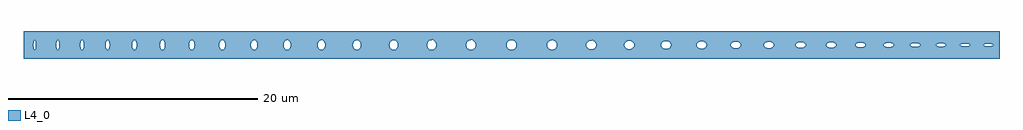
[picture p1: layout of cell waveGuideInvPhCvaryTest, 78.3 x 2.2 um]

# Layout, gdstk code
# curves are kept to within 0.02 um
import gdstk
lib = gdstk.Library(unit=1e-6, precision=1e-09)
def P(c, l, *ps):  # polygons
    for p in ps: c.add(gdstk.Polygon(p, *l))
L4_0 = (4, 0)

waveguideinvphcvarytest = lib.new_cell('waveGuideInvPhCvaryTest')
P(waveguideinvphcvarytest, L4_0, [(-39.15,-1.1),(-39.15,-0.4),(-38.234,-0.395),(-38.179,-0.283),(-38.15,0),(-38.191,0.324),(-38.234,0.395),(-38.266,0.395),(-38.331,0.235),(-38.349,-0.063),(-38.309,-0.324),(-38.25,-0.4),(-39.15,-0.4),(-39.15,1.1),(-37.35,1.1),(-37.35,-1.1)],
  [(-37.35,-1.1),(-37.35,-0.399),(-36.391,-0.399),(-36.312,-0.272),(-36.28,0),(-36.325,0.313),(-36.409,0.399),(-36.488,0.272),(-36.52,0),(-36.488,-0.272),(-36.409,-0.399),(-37.35,-0.399),(-37.35,1.1),(-35.45,1.1),(-35.45,-1.1)],
  [(-35.45,-1.1),(-35.45,-0.4),(-34.43,-0.396),(-34.344,-0.262),(-34.31,0),(-34.358,0.302),(-34.411,0.384),(-34.47,0.396),(-34.556,0.262),(-34.589,-0.057),(-34.542,-0.302),(-34.45,-0.4),(-35.45,-0.4),(-35.45,1.1),(-33.45,1.1),(-33.45,-1.1)],
  [(-33.45,-1.1),(-33.45,-0.399),(-32.367,-0.392),(-32.276,-0.252),(-32.24,0),(-32.308,0.327),(-32.367,0.392),(-32.433,0.392),(-32.537,0.208),(-32.559,-0.054),(-32.509,-0.292),(-32.411,-0.399),(-33.45,-0.399),(-33.45,1.1),(-31.35,1.1),(-31.35,-1.1)],
  [(-31.35,-1.1),(-31.35,-0.4),(-30.227,-0.397),(-30.16,-0.346),(-30.107,-0.244),(-30.07,0),(-30.14,0.317),(-30.203,0.386),(-30.273,0.397),(-30.34,0.346),(-30.393,0.244),(-30.43,0),(-30.377,-0.283),(-30.319,-0.37),(-30.25,-0.4),(-31.35,-0.4),(-31.35,1.1),(-29.15,1.1),(-29.15,-1.1)],
  [(-29.15,-1.1),(-29.15,-0.399),(-27.963,-0.393),(-27.854,-0.274),(-27.8,0),(-27.814,0.147),(-27.873,0.308),(-27.963,0.393),(-28.037,0.393),(-28.146,0.274),(-28.2,0),(-28.146,-0.274),(-28.085,-0.362),(-28.013,-0.399),(-29.15,-0.399),(-29.15,1.1),(-26.85,1.1),(-26.85,-1.1)],
  [(-26.85,-1.1),(-26.85,-0.4),(-25.623,-0.397),(-25.548,-0.354),(-25.485,-0.265),(-25.43,0),(-25.444,0.142),(-25.504,0.299),(-25.572,0.374),(-25.677,0.397),(-25.752,0.354),(-25.815,0.265),(-25.87,0),(-25.815,-0.265),(-25.728,-0.374),(-25.65,-0.4),(-26.85,-0.4),(-26.85,1.1),(-24.45,1.1),(-24.45,-1.1)],
  [(-24.45,-1.1),(-24.45,-0.399),(-23.158,-0.394),(-23.016,-0.257),(-22.96,0),(-22.974,0.137),(-23.035,0.291),(-23.131,0.383),(-23.242,0.394),(-23.384,0.257),(-23.44,0),(-23.426,-0.137),(-23.365,-0.291),(-23.295,-0.367),(-23.214,-0.399),(-24.45,-0.399),(-24.45,1.1),(-21.95,1.1),(-21.95,-1.1)],
  [(-21.95,-1.1),(-21.95,-0.4),(-20.592,-0.39),(-20.447,-0.249),(-20.39,0),(-20.416,0.174),(-20.488,0.313),(-20.592,0.39),(-20.708,0.39),(-20.812,0.313),(-20.87,0.213),(-20.908,-0.045),(-20.834,-0.283),(-20.736,-0.378),(-20.65,-0.4),(-21.95,-0.4),(-21.95,1.1),(-19.35,1.1),(-19.35,-1.1)],
  [(-19.35,-1.1),(-19.35,-0.399),(-17.955,-0.395),(-17.843,-0.331),(-17.777,-0.242),(-17.72,0),(-17.746,0.168),(-17.819,0.305),(-17.925,0.385),(-18.045,0.395),(-18.157,0.331),(-18.223,0.242),(-18.28,0),(-18.254,-0.168),(-18.203,-0.275),(-18.104,-0.372),(-18.015,-0.399),(-19.35,-0.399),(-19.35,1.1),(-16.65,1.1),(-16.65,-1.1)],
  [(-16.65,-1.1),(-16.65,-0.4),(-15.188,-0.391),(-15.027,-0.268),(-14.976,-0.163),(-14.95,0),(-14.976,0.163),(-15.049,0.297),(-15.157,0.38),(-15.312,0.391),(-15.426,0.324),(-15.493,0.235),(-15.548,-0.042),(-15.51,-0.2),(-15.451,-0.297),(-15.343,-0.38),(-15.25,-0.4),(-16.65,-0.4),(-16.65,1.1),(-13.85,1.1),(-13.85,-1.1)],
  [(-13.85,-1.1),(-13.85,-0.399),(-12.352,-0.395),(-12.259,-0.359),(-12.157,-0.261),(-12.08,0),(-12.12,0.194),(-12.204,0.316),(-12.32,0.387),(-12.448,0.395),(-12.569,0.339),(-12.663,0.229),(-12.718,-0.04),(-12.68,-0.194),(-12.596,-0.316),(-12.511,-0.375),(-12.384,-0.399),(-13.85,-0.399),(-13.85,1.1),(-10.95,1.1),(-10.95,-1.1)],
  [(-10.95,-1.1),(-10.95,-0.4),(-9.384,-0.392),(-9.261,-0.333),(-9.187,-0.254),(-9.11,0),(-9.15,0.189),(-9.234,0.309),(-9.351,0.383),(-9.516,0.392),(-9.639,0.333),(-9.713,0.254),(-9.775,0.116),(-9.788,-0.039),(-9.75,-0.189),(-9.666,-0.309),(-9.58,-0.37),(-9.45,-0.4),(-10.95,-0.4),(-10.95,1.1),(-7.95,1.1),(-7.95,-1.1)],
  [(-7.95,-1.1),(-7.95,-0.4),(-6.315,-0.389),(-6.191,-0.326),(-6.117,-0.247),(-6.04,0),(-6.08,0.183),(-6.191,0.326),(-6.315,0.389),(-6.485,0.389),(-6.609,0.326),(-6.703,0.216),(-6.758,-0.038),(-6.661,-0.276),(-6.55,-0.364),(-6.417,-0.4),(-7.95,-0.4),(-7.95,1.1),(-4.85,1.1),(-4.85,-1.1)],
  [(-4.85,-1.1),(-4.85,-0.4),(-3.18,-0.393),(-3.05,-0.34),(-2.969,-0.269),(-2.896,-0.144),(-2.87,0),(-2.91,0.178),(-2.994,0.296),(-3.146,0.385),(-3.32,0.393),(-3.45,0.34),(-3.553,0.241),(-3.615,0.109),(-3.628,-0.037),(-3.59,-0.178),(-3.506,-0.296),(-3.387,-0.373),(-3.25,-0.4),(-4.85,-0.4),(-4.85,1.1),(-1.65,1.1),(-1.65,-1.1)],
  [(-1.65,-1.1),(-1.65,-0.4),(0.089,-0.39),(0.22,-0.334),(0.324,-0.235),(0.4,0),(0.36,0.174),(0.249,0.313),(0.089,0.39),(-0.089,0.39),(-0.22,0.334),(-0.324,0.235),(-0.386,0.106),(-0.394,-0.071),(-0.343,-0.205),(-0.249,-0.313),(-0.124,-0.38),(0.018,-0.4),(-1.65,-0.4),(-1.65,1.1),(1.65,1.1),(1.65,-1.1)],
  [(1.65,-1.1),(1.65,-0.38),(3.323,-0.374),(3.546,-0.256),(3.623,-0.137),(3.65,0),(3.623,0.137),(3.519,0.281),(3.359,0.365),(3.177,0.374),(3.039,0.323),(2.931,0.229),(2.865,0.104),(2.852,-0.035),(2.892,-0.169),(2.981,-0.281),(3.106,-0.354),(3.25,-0.38),(1.65,-0.38),(1.65,1.1),(4.85,1.1),(4.85,-1.1)],
  [(4.85,-1.1),(4.85,-0.36),(6.494,-0.35),(6.6,-0.312),(6.714,-0.223),(6.784,-0.101),(6.8,0),(6.756,0.165),(6.662,0.272),(6.494,0.35),(6.306,0.35),(6.168,0.293),(6.063,0.195),(6.007,0.068),(6.002,-0.034),(6.044,-0.165),(6.138,-0.272),(6.381,-0.36),(4.85,-0.36),(4.85,1.1),(7.95,1.1),(7.95,-1.1)],
  [(7.95,-1.1),(7.95,-0.34),(9.528,-0.333),(9.639,-0.3),(9.759,-0.216),(9.82,-0.13),(9.85,0),(9.82,0.13),(9.704,0.263),(9.566,0.325),(9.372,0.333),(9.228,0.283),(9.117,0.189),(9.067,0.099),(9.052,-0.033),(9.097,-0.16),(9.196,-0.263),(9.45,-0.34),(7.95,-0.34),(7.95,1.1),(10.95,1.1),(10.95,-1.1)],
  [(10.95,-1.1),(10.95,-0.32),(12.5,-0.31),(12.704,-0.208),(12.782,-0.096),(12.8,0),(12.768,0.126),(12.645,0.253),(12.5,0.31),(12.3,0.31),(12.155,0.253),(12.05,0.155),(12.008,0.064),(12.008,-0.064),(12.05,-0.155),(12.155,-0.253),(12.42,-0.32),(10.95,-0.32),(10.95,1.1),(13.85,1.1),(13.85,-1.1)],
  [(13.85,-1.1),(13.85,-0.3),(15.333,-0.293),(15.547,-0.201),(15.63,-0.093),(15.65,0),(15.615,0.122),(15.518,0.223),(15.374,0.285),(15.167,0.293),(15.05,0.26),(14.926,0.176),(14.87,0.093),(14.852,-0.031),(14.885,-0.122),(14.982,-0.223),(15.087,-0.274),(15.25,-0.3),(13.85,-0.3),(13.85,1.1),(16.65,1.1),(16.65,-1.1)],
  [(16.65,-1.1),(16.65,-0.28),(18.107,-0.27),(18.318,-0.169),(18.4,0),(18.363,0.118),(18.224,0.232),(18.065,0.276),(17.893,0.27),(17.776,0.232),(17.657,0.144),(17.609,0.06),(17.602,-0.03),(17.71,-0.193),(17.978,-0.28),(16.65,-0.28),(16.65,1.1),(19.35,1.1),(19.35,-1.1)],
  [(19.35,-1.1),(19.35,-0.26),(20.739,-0.253),(20.963,-0.162),(21.028,-0.086),(21.05,0),(21.01,0.113),(20.899,0.203),(20.739,0.253),(20.561,0.253),(20.337,0.162),(20.272,0.086),(20.253,-0.029),(20.367,-0.184),(20.476,-0.234),(20.65,-0.26),(19.35,-0.26),(19.35,1.1),(21.95,1.1),(21.95,-1.1)],
  [(21.95,-1.1),(21.95,-0.24),(23.315,-0.23),(23.534,-0.132),(23.6,0),(23.557,0.108),(23.439,0.193),(23.269,0.236),(23.085,0.23),(22.866,0.132),(22.811,0.055),(22.803,-0.028),(22.843,-0.108),(22.926,-0.175),(23.177,-0.24),(21.95,-0.24),(21.95,1.1),(24.45,1.1),(24.45,-1.1)],
  [(24.45,-1.1),(24.45,-0.22),(25.746,-0.214),(25.979,-0.125),(26.05,0),(26.024,0.078),(25.915,0.165),(25.746,0.214),(25.554,0.214),(25.321,0.125),(25.262,0.053),(25.253,-0.027),(25.296,-0.102),(25.385,-0.165),(25.65,-0.22),(24.45,-0.22),(24.45,1.1),(26.85,1.1),(26.85,-1.1)],
  [(26.85,-1.1),(26.85,-0.2),(28.124,-0.19),(28.324,-0.118),(28.4,0),(28.351,0.096),(28.214,0.169),(27.876,0.19),(27.676,0.118),(27.613,0.05),(27.603,-0.025),(27.708,-0.137),(27.975,-0.2),(26.85,-0.2),(26.85,1.1),(29.15,1.1),(29.15,-1.1)],
  [(29.15,-1.1),(29.15,-0.18),(30.354,-0.174),(30.567,-0.11),(30.65,0),(30.62,0.069),(30.494,0.143),(30.146,0.174),(29.933,0.11),(29.864,0.047),(29.853,-0.023),(29.904,-0.09),(30.006,-0.143),(30.25,-0.18),(29.15,-0.18),(29.15,1.1),(31.35,1.1),(31.35,-1.1)],
  [(31.35,-1.1),(31.35,-0.16),(32.481,-0.157),(32.71,-0.101),(32.8,0),(32.767,0.064),(32.631,0.131),(32.319,0.157),(32.09,0.101),(32,0),(32.033,-0.064),(32.127,-0.117),(32.373,-0.16),(31.35,-0.16),(31.35,1.1),(33.45,1.1),(33.45,-1.1)],
  [(33.45,-1.1),(33.45,-0.14),(34.563,-0.134),(34.787,-0.076),(34.85,0),(34.814,0.058),(34.712,0.106),(34.337,0.134),(34.113,0.076),(34.054,0.02),(34.054,-0.02),(34.188,-0.106),(34.45,-0.14),(33.45,-0.14),(33.45,1.1),(35.45,1.1),(35.45,-1.1)],
  [(35.45,-1.1),(35.45,-0.12),(36.546,-0.112),(36.73,-0.068),(36.8,0),(36.76,0.052),(36.649,0.094),(36.254,0.112),(36.07,0.068),(36.004,0.018),(36.004,-0.018),(36.107,-0.082),(36.37,-0.12),(35.45,-0.12),(35.45,1.1),(37.35,1.1),(37.35,-1.1)],
  [(37.35,-1.1),(37.35,-0.1),(38.374,-0.095),(38.574,-0.059),(38.65,0),(38.606,0.045),(38.485,0.081),(38.126,0.095),(37.926,0.059),(37.855,0.016),(37.855,-0.016),(37.967,-0.071),(38.25,-0.1),(37.35,-0.1),(37.35,1.1),(39.15,1.1),(39.15,-1.1)])

lib.write_gds('waveGuideInvPhCvaryTest.gds')
